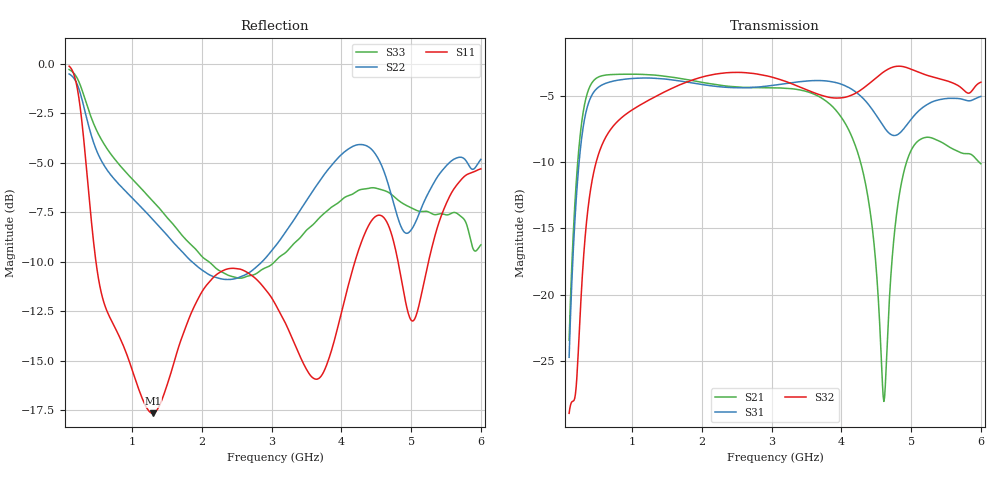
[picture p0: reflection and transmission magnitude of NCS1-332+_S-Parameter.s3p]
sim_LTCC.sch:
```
<QucsStudio Schematic 5.9>
<Properties>
View=-49.8102,-285.786,1135.88,575.27,1.62947,202,0
Grid=10,10,0
DataSet=*.dat
DataDisplay=*.dpl
OpenDisplay=1
showFrame=0
FrameText0=Title
FrameText1=Drawn By:
FrameText2=Date:
FrameText3=Revision:
</Properties>
<Symbol>
</Symbol>
<Components>
GND * 1 190 240 0 0 0
GND * 1 620 240 0 0 0
C C1 1 410 50 -19 -47 0 "1 pF"1"0"0""0"neutral"0"SMD0603"0
C C2 1 410 -30 -20 -49 0 "1 pF"1"0"0""0"neutral"0"SMD0603"0
R R1 1 500 50 -16 -50 2 "R"1"26.85"0"european"0"SMD0603"0
R R2 1 500 -30 -17 -48 2 "R"1"26.85"0"european"0"SMD0603"0
GND * 1 350 0 0 0 0
Eqn Eqn1 1 200 490 0 8 0 "R=10k="1"yes"0
TLIN Line2 1 500 170 -23 23 0 "50 Ohm"1"10 mm"1"0 dB"0"26.85"0""0""0
TLIN Line1 1 310 170 -22 20 0 "50 Ohm"1"10 mm"1"0 dB"0"26.85"0""0""0
Pac P1 1 190 210 18 -26 0 "1"1"50 Ohm"1"10 dBm"0"1 GHz"0"26.85"0"SUBCLICK"0
Pac P2 1 620 210 18 -26 0 "2"1"50 Ohm"1"0 dBm"0"1 GHz"0"26.85"0"SUBCLICK"0
TLIN4P Line3 1 850 -60 -26 16 0 "50 Ohm"1"100 mm"1"0 dB"0"26.85"0""0""0
Pac P3 1 930 0 18 -31 0 "3"1"50 Ohm"1"0 dBm"0"1 GHz"0"26.85"0"SUBCLICK"0
R R6 1 220 -10 16 -18 3 "1G"1"26.85"0"european"0"SMD0603"0
GND * 1 220 20 0 0 0
.SW SW1 1 880 170 0 8 0 "SP1"1"R"1"list"0"1000"0"10k"0"100;150;220;330;470;680;1000"0
.SP SP1 1 740 170 0 8 0 "lin"1"0 GHz"1"3 GHz"1"1001"1"no"0"1"0"2"0"none"0
SPfile TR1 1 710 -40 -27 -100 6 "NCS1-332+_S-Parameter.s3p"1"3"1"polar"0"cubic"0"short"0"none"0"block"0"SOT23"0
</Components>
<Wires>
340 170 370 170
190 170 190 180
190 170 280 170
620 170 620 180
530 170 620 170
370 170 470 170
370 50 370 170
370 50 380 50
440 50 470 50
440 -30 470 -30
350 -30 350 0
350 -30 380 -30
930 30 930 70
930 -70 930 -30
880 -70 930 -70
820 -50 880 -50
740 -70 820 -70
710 70 930 70
710 20 710 70
530 50 530 50 "TR_P2" 570 30 0 ""
530 -30 530 -30 "TR_P3" 570 -40 0 ""
880 -50 880 -50 "VGND" 910 -110 0 ""
220 -40 220 -40 "VGND" 200 -70 0 ""
680 -70 680 -70 "TR_P2" 610 -80 0 ""
740 -10 740 -10 "TR_P3" 750 -30 0 ""
710 70 710 70 "VGND" 640 50 0 ""
</Wires>
<Diagrams>
</Diagrams>
<Paintings>
Line 150 110 880 0 #000000 2 3
Text 153 81 16 #000000 0 Probe
Text 153 121 16 #000000 0 DUT
</Paintings>
```
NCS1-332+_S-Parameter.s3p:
!Mini-Circuits
!Created: 08-07-2018 at 13:35:45
!MODEL: NCS1-332+
!S/N: Unit 1
!Remarks: Auto port extension applied.
!Port Config: Port1->PrimaryDot, Port2->SecondaryDot, Port3->Secondary.
# MHZ S DB R 50
!Frequency
!  S11 dB  S11 DEG  S12 dB  S12 DEG  S13 dB  S13 DEG
!  S21 dB  S21 DEG  S22 dB  S22 DEG  S23 dB  S23 DEG
!  S31 dB  S31 DEG  S32 dB  S32 DEG  S33 dB  S33 DEG
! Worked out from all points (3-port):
!   591 points, 100 MHz to 6 GHz, reference 50 ohm
!   strongest paths, dB at 100 MHz, 1.57 GHz, 3.05 GHz, 4.53 GHz, 6 GHz:
!     S32: -28.9, -4.5, -3.7, -3.5, -4.0
!     S31: -24.7, -3.8, -4.2, -6.7, -5.1
!     S21: -23.4, -3.6, -4.4, -20.3, -10.1
!   lowest |S11| = -17.6 dB at 1.3 GHz (marker M1), VSWR 1.30, Z = 44.9 - j11.4 ohm
!   |S11| at or under -10 dB: 484.7 MHz to 4.194 GHz (3.709 GHz wide, 159 % of centre); 4.814 GHz to 5.249 GHz (435.1 MHz wide, 8.65 % of centre)
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100  -0.12 -40.2  -23.40 -31.9  -24.69 147.3
     -23.41 -31.9  -0.51 156.9  -28.91 71.0
     -24.69 147.3  -28.91 71.0  -0.29 163.4
320  -4.19 -151.2  -5.70 -113.2  -6.80 74.5
     -5.70 -113.2  -2.30 108.1  -16.25 114.6
     -6.80 74.5  -16.25 114.6  -1.70 128.4
1300  -17.65 -107.2  -3.45 111.5  -3.69 -52.9
      -3.45 111.5  -7.87 25.8  -5.18 33.8
      -3.69 -52.9  -5.18 33.8  -6.93 58.0
3130  -12.62 -4.5  -4.43 -2.3  -4.15 174.3
      -4.43 -2.3  -8.86 -24.1  -3.80 -12.8
      -4.15 174.3  -3.81 -12.8  -9.71 -30.6
6000  -5.30 30.2  -10.13 175.0  -5.06 23.0
      -10.13 175.0  -4.82 -105.6  -3.99 -41.6
      -5.06 23.0  -3.99 -41.6  -9.14 -137.7
